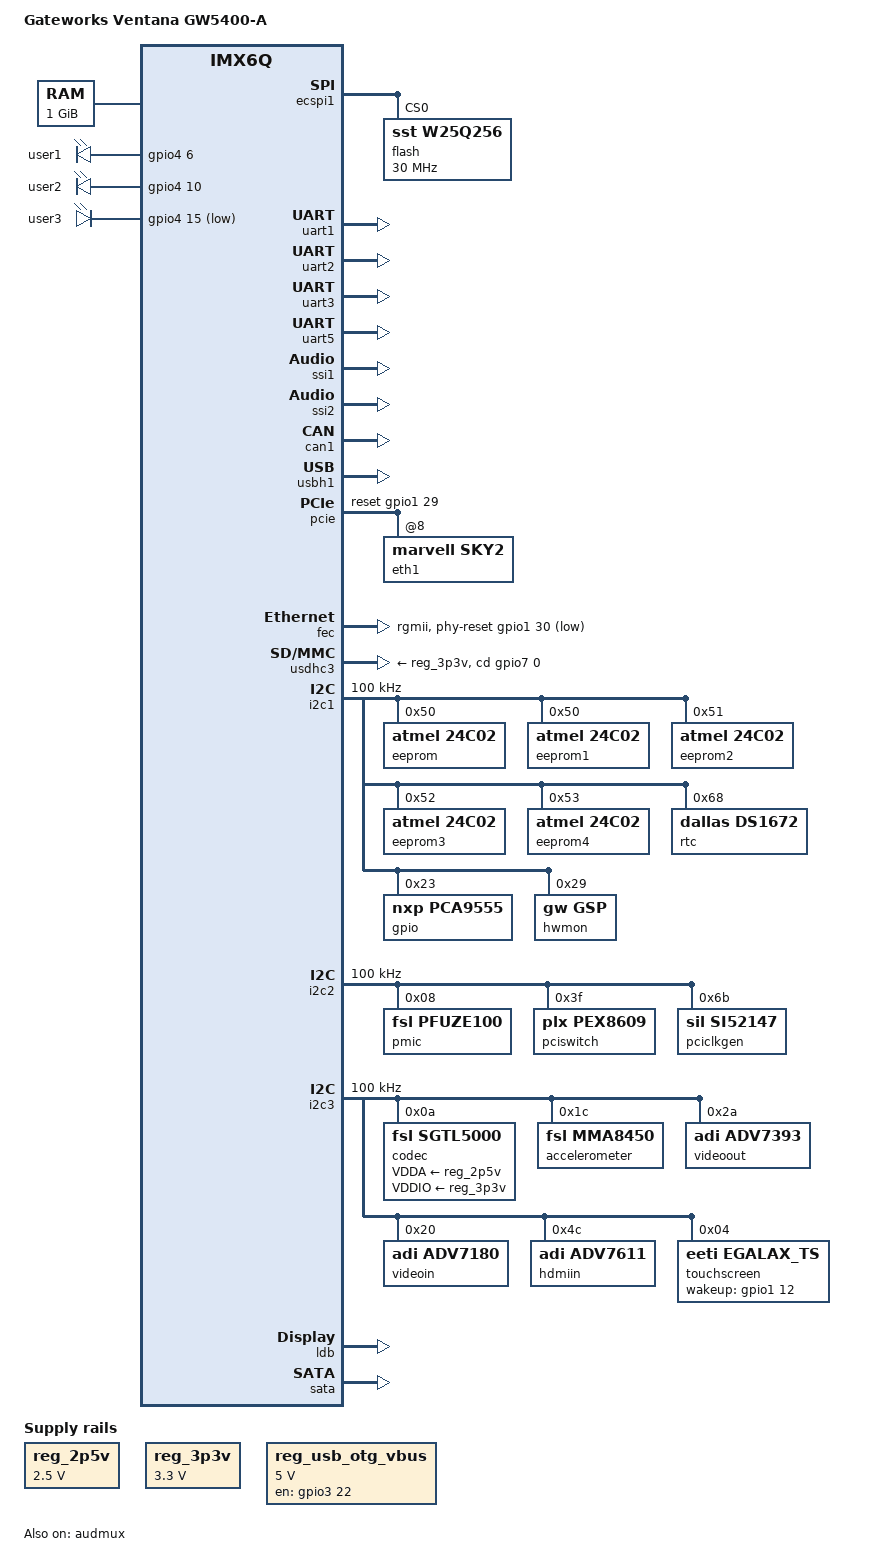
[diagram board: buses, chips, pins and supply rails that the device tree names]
/*
 * Copyright 2013 Gateworks Corporation
 *
 * The code contained herein is licensed under the GNU General Public
 * License. You may obtain a copy of the GNU General Public License
 * Version 2 or later at the following locations:
 *
 * http://www.opensource.org/licenses/gpl-license.html
 * http://www.gnu.org/copyleft/gpl.html
 */

/dts-v1/;
#include "imx6q.dtsi"

/ {
	model = "Gateworks Ventana GW5400-A";
	compatible = "gw,imx6q-gw5400-a", "gw,ventana", "fsl,imx6q";

	/* these are used by bootloader for disabling nodes */
	aliases {
		ethernet0 = &fec;
		ethernet1 = &eth1;
		sky2 = &eth1;
		ssi0 = &ssi1;
		ssi1 = &ssi2;
		ipu0 = &ipu1;
		ipu1 = &ipu2;
		usdhc0 = &usdhc1;
		usdhc1 = &usdhc2;
		usdhc2 = &usdhc3;
		usdhc3 = &usdhc4;
		i2c0 = &i2c1;
		i2c1 = &i2c2;
		i2c2 = &i2c3;
		usb0 = &usbh3;
		usb1 = &usbotg;
		spi0 = &ecspi1;
		spi1 = &ecspi2;
		spi2 = &ecspi3;
		spi3 = &ecspi4;
		spi4 = &ecspi5;
		pwm0 = &pwm1;
		pwm1 = &pwm2;
		pwm2 = &pwm3;
		pwm3 = &pwm4;
		can0 = &can1;
		led0 = &led0;
		led1 = &led1;
		led2 = &led2;
	};

	/* SDRAM addressing */
	memory {
		reg = <0x10000000 0x40000000>;
	};

	chosen {
		bootargs = "console=ttymxc1,115200";
	};

	leds {
		compatible = "gpio-leds";

		led0: user1 {
			label = "user1";
			gpios = <&gpio4 6 0>; /* 102 -> MX6_PANLEDG */
			default-state = "on";
			linux,default-trigger = "heartbeat";
		};

		led1: user2 {
			label = "user2";
			gpios = <&gpio4 10 0>; /* 106 -> MX6_PANLEDR */
			default-state = "off";
		};

		led2: user3 {
			label = "user3";
			gpios = <&gpio4 15 1>; /* 111 -> MX6_LOCLED# */
			default-state = "off";
		};
	};

	regulators {
		compatible = "simple-bus";

		reg_2p5v: 2p5v {
			compatible = "regulator-fixed";
			regulator-name = "2P5V";
			regulator-min-microvolt = <2500000>;
			regulator-max-microvolt = <2500000>;
			regulator-always-on;
		};

		reg_3p3v: 3p3v {
			compatible = "regulator-fixed";
			regulator-name = "3P3V";
			regulator-min-microvolt = <3300000>;
			regulator-max-microvolt = <3300000>;
			regulator-always-on;
		};

		reg_usb_otg_vbus: usb_otg_vbus {
			compatible = "regulator-fixed";
			regulator-name = "usb_otg_vbus";
			regulator-min-microvolt = <5000000>;
			regulator-max-microvolt = <5000000>;
			gpio = <&gpio3 22 0>;
			enable-active-high;
		};
	};

	sound {
		compatible = "fsl,imx6q-sabrelite-sgtl5000",
			     "fsl,imx-audio-sgtl5000";
		model = "imx6q-sabrelite-sgtl5000";
		ssi-controller = <&ssi1>;
		audio-codec = <&codec>;
		audio-routing =
			"MIC_IN", "Mic Jack",
			"Mic Jack", "Mic Bias",
			"Headphone Jack", "HP_OUT";
		mux-int-port = <1>;
		mux-ext-port = <4>;
	};
};

&iomuxc {
	pinctrl-names = "default";
	pinctrl-0 = <&pinctrl_hog>;

	hog {
		pinctrl_hog: hoggrp {
			fsl,pins = <
				MX6Q_PAD_EIM_D22__GPIO3_IO22    0x80000000 /* OTG_PWR_EN */
				MX6Q_PAD_EIM_D19__GPIO3_IO19    0x80000000 /* SPINOR_CS0# */
				MX6Q_PAD_KEY_COL0__GPIO4_IO06   0x80000000 /* user0 led */
				MX6Q_PAD_KEY_COL2__GPIO4_IO10   0x80000000 /* user1 led */
				MX6Q_PAD_KEY_ROW4__GPIO4_IO15   0x80000000 /* user2 led */
/* let bootloader choose these based on hwconfig */
#if 0
				MX6Q_PAD_GPIO_9__GPIO1_IO09     0x80000000 /* MX6_DIO0 (or PWM1_PWM0) */
				MX6Q_PAD_SD1_DAT2__GPIO1_IO19   0x80000000 /* MX6_DIO1 (or PWM2_PWM0) */
				MX6Q_PAD_SD4_DAT1__GPIO2_IO09   0x80000000 /* MX6_DIO2 (or PWM3_PWM0) */
				MX6Q_PAD_SD4_DAT2__GPIO2_IO10   0x80000000 /* MX6_DIO3 (or PWM3_PWM0) */
#endif
				MX6Q_PAD_SD1_DAT0__GPIO1_IO16   0x80000000 /* USBHUB_RST# */
				MX6Q_PAD_ENET_TX_EN__GPIO1_IO28 0x80000000 /* PCIE IRQ */
				MX6Q_PAD_ENET_TXD1__GPIO1_IO29  0x08000000 /* PCIE RST */
				MX6Q_PAD_SD1_DAT3__GPIO1_IO21   0x80000000 /* MIPI_DIO */
				MX6Q_PAD_GPIO_0__CCM_CLKO1      0x80000000 /* AUD4_MCK */
			 >;
		};
	};

#if 0
	/* ipu1: IPU1_CSI0: HDMI reciver (Digital Video In) */
	ipu1 {
		pinctrl_ipu1_1: ipu1grp-5 {
			fsl,pins = <
				MX6Q_PAD_CSI0_MCLK__IPU1_CSI0_HSYNC
				MX6Q_PAD_CSI0_DATA_EN__IPU1_CSI0_DATA_EN
				MX6Q_PAD_CSI0_PIXCLK__IPU1_CSI0_PIXCLK
				MX6Q_PAD_CSI0_VSYNC__IPU1_CSI0_VSYNC
				MX6Q_PAD_CSI0_DAT4__IPU1_CSI0_DATA04
				MX6Q_PAD_CSI0_DAT5__IPU1_CSI0_DATA05
				MX6Q_PAD_CSI0_DAT6__IPU1_CSI0_DATA06
				MX6Q_PAD_CSI0_DAT7__IPU1_CSI0_DATA07
				MX6Q_PAD_CSI0_DAT8__IPU1_CSI0_DATA08
				MX6Q_PAD_CSI0_DAT9__IPU1_CSI0_DATA09
				MX6Q_PAD_CSI0_DAT10__IPU1_CSI0_DATA10
				MX6Q_PAD_CSI0_DAT11__IPU1_CSI0_DATA11
				MX6Q_PAD_CSI0_DAT12__IPU1_CSI0_DATA12
				MX6Q_PAD_CSI0_DAT13__IPU1_CSI0_DATA13
				MX6Q_PAD_CSI0_DAT14__IPU1_CSI0_DATA14
				MX6Q_PAD_CSI0_DAT15__IPU1_CSI0_DATA15
				MX6Q_PAD_CSI0_DAT16__IPU1_CSI0_DATA16
				MX6Q_PAD_CSI0_DAT17__IPU1_CSI0_DATA17
				MX6Q_PAD_CSI0_DAT18__IPU1_CSI0_DATA18
				MX6Q_PAD_CSI0_DAT19__IPU1_CSI0_DATA19
			>;
		};
	};

	/* ipu2: IPU1_CSI1: Analog Video Decoder (Analog Video In) */
	/* IPU2_CSI1: Analog Video Decoder (Analog Video In) */
	ipu2 {
		pinctrl_ipu2_1: ipu2grp-1 {
			fsl,pins = <
				MX6Q_PAD_EIM_A17__IPU2_CSI1_DATA12
				MX6Q_PAD_EIM_D27__IPU2_CSI1_DATA13
				MX6Q_PAD_EIM_D26__IPU2_CSI1_DATA14
				MX6Q_PAD_EIM_D20__IPU2_CSI1_DATA15
				MX6Q_PAD_EIM_D19__IPU2_CSI1_DATA16
				MX6Q_PAD_EIM_D18__IPU2_CSI1_DATA17
				MX6Q_PAD_EIM_D16__IPU2_CSI1_DATA18
				MX6Q_PAD_EIM_EB2__IPU2_CSI1_DATA19

				MX6Q_PAD_EIM_D29__IPU2_CSI1_VSYNC
				MX6Q_PAD_EIM_EB3__IPU2_CSI1_HSYNC
// not sure why this causes kernel to crash in early init
//			MX6Q_PAD_EIM_A16__IPU2_CSI1_PIXCLK
			>;
		};
	};

	/* ipu3: IPU2_DISP0: Analog Video Encoder (Analog Video Out) */
	ipu3 {
		pinctrl_ipu3_1: ipu3grp-5 {
			fsl,pins = <
				MX6Q_PAD_DISP0_DAT0__IPU2_DISP0_DATA00
				MX6Q_PAD_DISP0_DAT1__IPU2_DISP0_DATA01
				MX6Q_PAD_DISP0_DAT2__IPU2_DISP0_DATA02
				MX6Q_PAD_DISP0_DAT3__IPU2_DISP0_DATA03
				MX6Q_PAD_DISP0_DAT4__IPU2_DISP0_DATA04
				MX6Q_PAD_DISP0_DAT5__IPU2_DISP0_DATA05
				MX6Q_PAD_DISP0_DAT6__IPU2_DISP0_DATA06
				MX6Q_PAD_DISP0_DAT7__IPU2_DISP0_DATA07
				MX6Q_PAD_DISP0_DAT8__IPU2_DISP0_DATA08
				MX6Q_PAD_DISP0_DAT9__IPU2_DISP0_DATA09
				MX6Q_PAD_DISP0_DAT10__IPU2_DISP0_DATA10
				MX6Q_PAD_DISP0_DAT11__IPU2_DISP0_DATA11
				MX6Q_PAD_DISP0_DAT12__IPU2_DISP0_DATA12
				MX6Q_PAD_DISP0_DAT13__IPU2_DISP0_DATA13
				MX6Q_PAD_DISP0_DAT14__IPU2_DISP0_DATA14
				MX6Q_PAD_DISP0_DAT15__IPU2_DISP0_DATA15
			>;
		};
	};
#endif
};

&ecspi1 {
	pinctrl-names = "default";
	pinctrl-0 = <&pinctrl_ecspi1_1>;
	status = "okay";

	flash: m25p80@0 {
		#address-cells = <1>;
		#size-cells = <1>;
		compatible = "sst,w25q256";
		spi-max-frequency = <30000000>;
		reg = <0>;
	};
};

&uart1 {
	pinctrl-names = "default";
	pinctrl-0 = <&pinctrl_uart1_2>;
	status = "okay";
};

&uart2 {
	pinctrl-names = "default";
	pinctrl-0 = <&pinctrl_uart2_2>;
	status = "okay";
};

&uart3 {
	pinctrl-names = "default";
	pinctrl-0 = <&pinctrl_uart3_1>;
	status = "okay";
};

&uart5 {
	status = "okay";
	pinctrl-names = "default";
	pinctrl-0 = <&pinctrl_uart5_1>;
};

&ssi1 {
	fsl,mode = "i2s-slave";
	status = "okay";
};

&ssi2 {
	fsl,mode = "i2s-slave";
	status = "okay";
};

&can1 {
	reg = <0x02090000 0x4000>;
	interrupts = <0 110 0x04>;
	status = "okay";
};

&usbh1 {
	status = "okay";
};

&pcie {
	reset-gpio = <&gpio1 29 0>;
	status = "okay";

	eth1: sky2@8 { /* MAC/PHY on bus 8 */
		compatible = "marvell,sky2";
		/* Filled in by U-Boot */
		mac-address = [ 00 00 00 00 00 00 ];
	};	
};

&fec {
	pinctrl-names = "default";
	pinctrl-0 = <&pinctrl_enet_1>;
	phy-mode = "rgmii";
	phy-reset-gpios = <&gpio1 30 0>;
	status = "okay";
};

&usdhc3 {
	pinctrl-names = "default";
	pinctrl-0 = <&pinctrl_usdhc3_2>;
	cd-gpios = <&gpio7 0 0>;
	vmmc-supply = <&reg_3p3v>;
	status = "okay";
};

&audmux {
	pinctrl-names = "default";
	pinctrl-0 = <&pinctrl_audmux_3>;
	status = "okay";
};

&i2c1 {
	status = "okay";
	clock-frequency = <100000>;
	pinctrl-names = "default";
	pinctrl-0 = <&pinctrl_i2c1_1>;

	eeprom: eeprom@50 {
		compatible = "atmel,24c02";
		reg = <0x50>;
		pagesize = <16>;
	};

	eeprom1: eeprom@50 {
		compatible = "atmel,24c02";
		reg = <0x50>;
		pagesize = <16>;
	};

	eeprom2: eeprom@51 {
		compatible = "atmel,24c02";
		reg = <0x51>;
		pagesize = <16>;
	};

	eeprom3: eeprom@52 {
		compatible = "atmel,24c02";
		reg = <0x52>;
		pagesize = <16>;
	};

	eeprom4: eeprom@53 {
		compatible = "atmel,24c02";
		reg = <0x53>;
		pagesize = <16>;
	};

	rtc: ds1672@68 {
		compatible = "dallas,ds1672";
		reg = <0x68>;
	};

	gpio: pca9555@23 {
		compatible = "nxp,pca9555";
		reg = <0x23>;
		gpio-controller;
		#gpio-cells = <2>;
	};

	hwmon: gsc@29 {
		compatible = "gw,gsp";
		reg = <0x29>;
	};
};

&i2c2 {
	status = "okay";
	clock-frequency = <100000>;
	pinctrl-names = "default";
	pinctrl-0 = <&pinctrl_i2c2_2>;

	pmic: pfuze@08 {
		compatible = "fsl,pfuze100";
		reg = <0x08>;
	};

	pciswitch: pex8609@3f {
		compatible = "plx,pex8609";
		reg = <0x3f>;
	};

	pciclkgen: si52147@6b {
		compatible = "sil,si52147";
		reg = <0x6b>;
	};
};

&i2c3 {
	status = "okay";
	clock-frequency = <100000>;
	pinctrl-names = "default";
	pinctrl-0 = <&pinctrl_i2c3_2>;

	codec: sgtl5000@0a {
		compatible = "fsl,sgtl5000";
		reg = <0x0a>;
		clocks = <&clks 169>;
		VDDA-supply = <&reg_2p5v>;
		VDDIO-supply = <&reg_3p3v>;
	};

	accelerometer: mma8450@1c {
		compatible = "fsl,mma8450";
		reg = <0x1c>;
	};

	videoout: adv7393@2a {
		compatible = "adi,adv7393";
		reg = <0x2a>;
	};

	videoin: adv7180@20 {
		compatible = "adi,adv7180";
		reg = <0x20>;
	};

	hdmiin: adv7611@4c {
		compatible = "adi,adv7611";
		reg = <0x4c>;
	};

	touchscreen: egalax_ts@04 {
		compatible = "eeti,egalax_ts";
		reg = <0x04>;
		wakeup-gpios = <&gpio1 12 0>;
	};
};

&ldb {
	status = "okay";
	lvds-channel@0 {
		crtcs = <&ipu1 0>, <&ipu1 1>, <&ipu2 0>, <&ipu2 1>;
	};
};

&sata {
	status = "okay";
};
